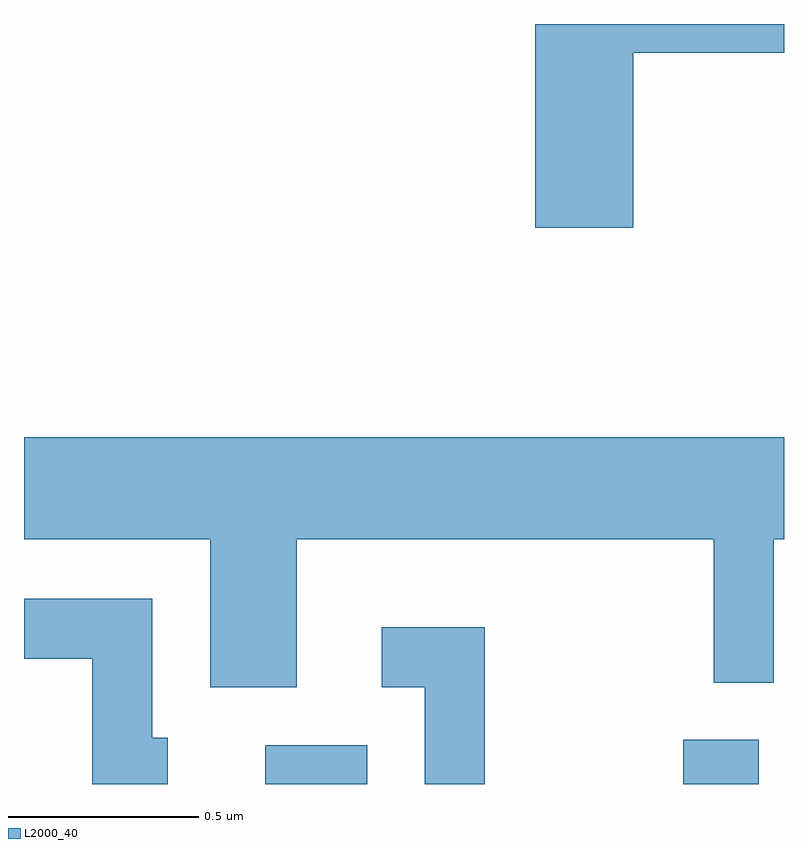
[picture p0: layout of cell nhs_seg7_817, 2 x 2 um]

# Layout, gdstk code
import gdstk
lib = gdstk.Library(unit=1e-6, precision=1e-09)
def R(c, l, rs):  # rectangles x0, y0, x1, y1
    for r in rs: c.add(gdstk.rectangle(r[:2], r[2:], *l))
def P(c, l, *ps):  # polygons
    for p in ps: c.add(gdstk.Polygon(p, *l))
L2000_40 = (2000, 40)

nhs_seg7_817 = lib.new_cell('nhs_seg7_817')
R(nhs_seg7_817, L2000_40, [(191.246,1800.252,191.514,1800.354), (192.346,1800.252,192.544,1800.369)])
P(nhs_seg7_817, L2000_40, [(192.214,1802.176),(192.611,1802.176),(192.611,1802.252),(191.956,1802.252),(191.956,1801.716),(192.214,1801.716)],
  [(191.329,1800.896),(192.426,1800.896),(192.426,1800.518),(192.584,1800.518),(192.584,1800.896),(192.611,1800.896),(192.611,1801.164),(190.611,1801.164),(190.611,1800.896),(191.101,1800.896),(191.101,1800.506),(191.329,1800.506)],
  [(190.989,1800.374),(190.949,1800.374),(190.949,1800.739),(190.611,1800.739),(190.611,1800.581),(190.791,1800.581),(190.791,1800.252),(190.989,1800.252)],
  [(191.824,1800.664),(191.553,1800.664),(191.553,1800.506),(191.666,1800.506),(191.666,1800.252),(191.824,1800.252)])

lib.write_gds('nhs_seg7_817.gds')
